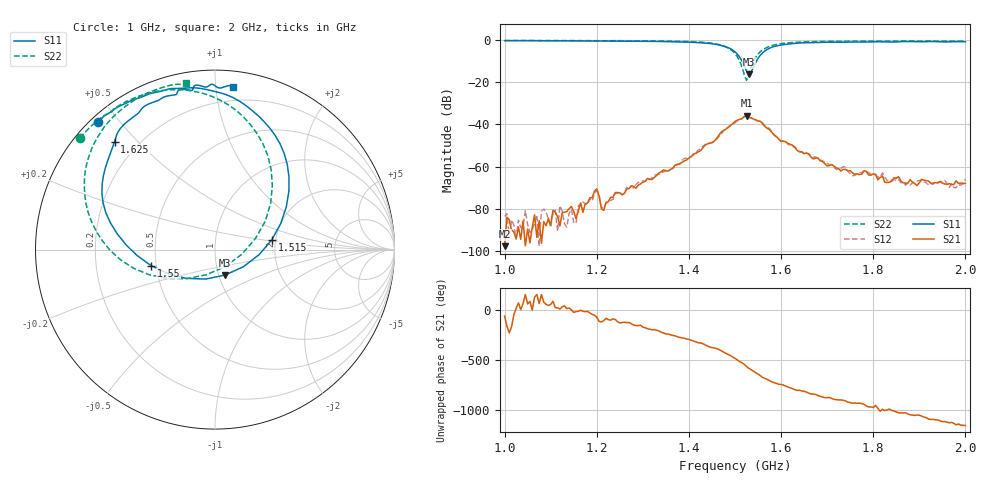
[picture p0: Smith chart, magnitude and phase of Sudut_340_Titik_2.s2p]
# Hz S RI R 50
! CMT, C1220, 16058040, 17.2.0/1
! Date: 14/08/2018 12:50:09
! Data: Format (Calibration Info)
! Freq  S11: Re/Im (F2)  S21: Re/Im (F2)  S12: Re/Im (F2)  S22: Re/Im (F2)
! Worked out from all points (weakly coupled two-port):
!   201 points, 1 GHz to 2 GHz, reference 50 ohm
!   highest |S21| = -35.85 dB at 1.525 GHz (marker M1); lowest = -97.7 dB at 1 GHz (marker M2)
!   lowest |S11| = -16.3 dB at 1.53 GHz (marker M3), VSWR 1.36, Z = 53.7 - j15.6 ohm
!   |S11| at or under -10 dB: 1.515 GHz to 1.547 GHz (31.19 MHz wide, 2.04 % of centre)
!   |S22| runs from -19.1 to -0.2 dB; largest |S21 - S12| = 0.00072
!   S11 on the Smith chart (normalised r, x): 1 GHz: 0.02, +0.44; 1.515 GHz: 1.91, +0.23; 1.55 GHz: 0.47, -0.10; 1.625 GHz: 0.12, +0.43; 2 GHz: 0.10, +1.11
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1e9  -0.6513 0.7133  6.37e-06 -1.14e-05  -5.75e-05 3.2e-05  -0.7537 0.6216
1.17e9  -0.4813 0.8233  8.04e-05 -1.78e-05  0.000143 -2.75e-05  -0.6182 0.7469
1.19e9  -0.4516 0.8366  0.000134 -0.000125  0.000117 -9.74e-05  -0.5955 0.7587
1.2e9  -0.4397 0.8397  9.12e-05 -0.000282  -2.91e-06 -0.000268  -0.5849 0.7601
1.21e9  -0.4301 0.8425  -4.83e-05 -8.91e-05  -4.45e-05 -0.000101  -0.5807 0.764
1.215e9  -0.4242 0.8445  -2.68e-05 -8.77e-05  -4.13e-06 -0.000103  -0.578 0.7687
1.24e9  -0.3811 0.8614  -1.57e-05 -0.000242  -7.68e-05 -0.000221  -0.5513 0.792
1.335e9  -0.2199 0.8975  -0.000613 0.000351  -0.000527 0.000405  -0.4038 0.8616
1.45e9  0.1828 0.7944  0.00351 -0.00108  0.00352 -0.00134  0.0183 0.8374
1.5e9  0.4117 0.3259  -0.00654 -0.00972  -0.00616 -0.0091  0.3195 0.3552
1.515e9  0.3167 0.0547  -0.0134 -0.00271  -0.0135 -0.00305  0.2246 0.0609
1.525e9  0.1581 -0.0956  -0.0146 0.00689  -0.0147 0.00684  0.0572 -0.0946
1.53e9  0.0572 -0.1414  -0.0104 0.0103  -0.0105 0.0103  -0.0491 -0.1403
1.55e9  -0.3571 -0.0888  0.00233 0.0118  0.00182 0.0119  -0.4543 -0.1036
1.58e9  -0.6233 0.259  0.00649 -6.02e-05  0.00675 -0.000273  -0.7073 0.2096
1.625e9  -0.5597 0.6023  0.00115 -0.00298  0.0012 -0.00277  -0.703 0.5177
1.67e9  -0.4462 0.745  -0.000843 -0.00126  -0.000916 -0.00138  -0.6277 0.6683
1.755e9  -0.2794 0.8516  -0.000582 0.000408  -0.000497 0.000351  -0.4926 0.803
1.82e9  -0.1719 0.8922  5.43e-05 0.000597  0.000118 0.000704  -0.4015 0.8589
1.835e9  -0.1362 0.8871  2.21e-05 0.000429  0.000102 0.000435  -0.3815 0.8692
1.98e9  0.0733 0.9129  0.000147 -0.000436  0.000168 -0.000271  -0.1832 0.9213
2e9  0.1019 0.9059  8.59e-05 -0.000394  7.8e-05 -0.000496  -0.1593 0.93
